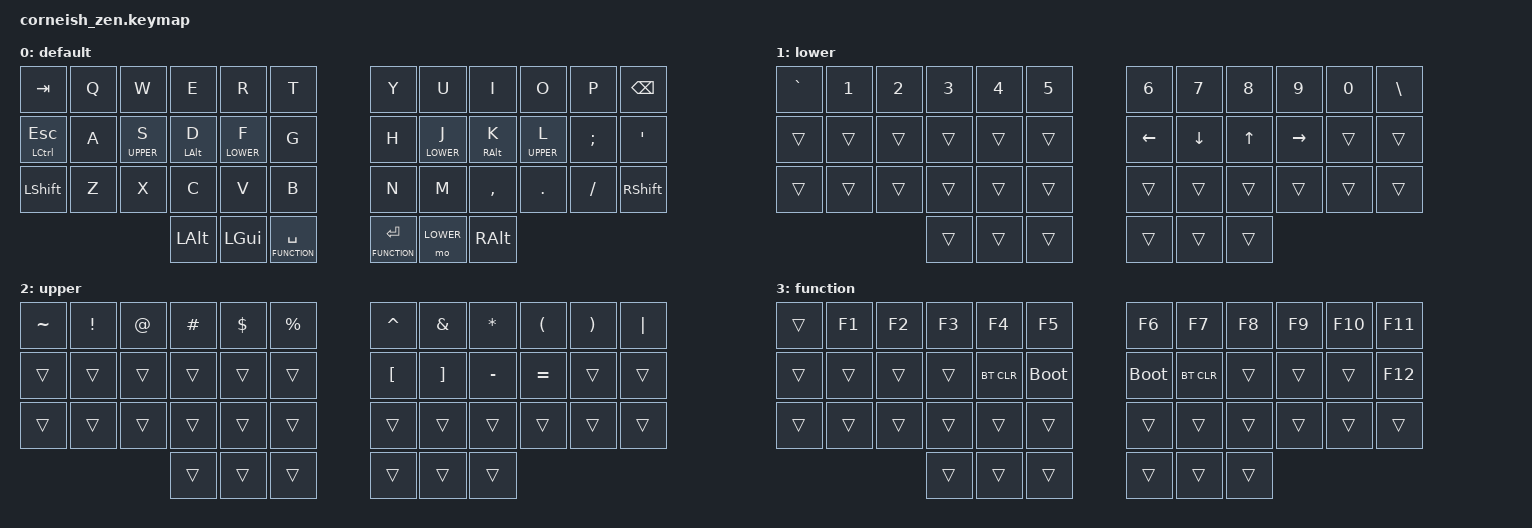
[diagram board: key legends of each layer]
#include <behaviors.dtsi>
#include <dt-bindings/zmk/bt.h>
#include <dt-bindings/zmk/ext_power.h>
#include <dt-bindings/zmk/keys.h>
#include <dt-bindings/zmk/outputs.h>
#include <dt-bindings/zmk/rgb.h>

#include "keys/base.h"
#include "keys/corne.h"

#define DEFAULT 0
#define LOWER 1
#define UPPER 2
#define FUNCTION 3

/ {
    chosen {
        zmk,matrix_transform = &default_transform;
    };
};

/ {
    behaviors {
        mht: mod_hold_tap {
            compatible = "zmk,behavior-hold-tap";
            #binding-cells = <2>;
            bindings = <&kp>, <&kp>;
            flavor = "tap-preferred";
            tapping-term-ms = <150>;
            quick-tap-ms = <0>;
        };
        hll: homerow_layer_left {
            compatible = "zmk,behavior-hold-tap";
            #binding-cells = <2>;
            bindings = <&mo>, <&kp>;
            flavor = "balanced";
            global-quick-tap;
            tapping-term-ms = <280>; 
            quick-tap-ms = <175>;
            hold-trigger-key-positions = <KEYS_R KEYS_T>;
        };
        hlr: homerow_layer_right {
            compatible = "zmk,behavior-hold-tap";
            #binding-cells = <2>;
            bindings = <&mo>, <&kp>;
            flavor = "balanced";
            global-quick-tap;
            tapping-term-ms = <280>;
            quick-tap-ms = <175>;
            hold-trigger-key-positions = <KEYS_L KEYS_T>;
        };
        hml: homerow_mod_left {
            compatible = "zmk,behavior-hold-tap";
            #binding-cells = <2>;
            flavor = "balanced";
            global-quick-tap;
            tapping-term-ms = <280>; 
            quick-tap-ms = <175>;
            bindings = <&kp>, <&kp>;
            hold-trigger-key-positions = <KEYS_R KEYS_T>;
        };
        hmr: homerow_mod_right {
            compatible = "zmk,behavior-hold-tap";
            #binding-cells = <2>;
            flavor = "balanced";
            global-quick-tap;
            tapping-term-ms = <280>; 
            quick-tap-ms = <175>;
            bindings = <&kp>, <&kp>;
            hold-trigger-key-positions = <KEYS_L KEYS_T>;
        };
    };

    keymap {
        compatible = "zmk,keymap";

        // LAYER 0
        default_layer {
            /*
            ╭────────────────────────────────┬─────────────────────────────────╮ 
            │  TAB   Q    W    E    R    T   │   Y    U     I    O    P   BKSP │
            │ CTRL   A    S    D    F    G   │   H    J     K    L    ;    '   │
            │ SHFT   Z    X    C    V    B   │   N    M     ,    .    /   SHFT │
            ╰───────────────╮ ALT  GUI  SPC  │  ENT  NUM   ALT ╭───────────────╯
                            ╰────────────────┴─────────────────╯
            */
            display-name = "default";
            bindings = <
            &kp TAB         &kp Q  &kp W         &kp E        &kp R         &kp T               &kp Y               &kp U         &kp I        &kp O         &kp P     &kp BSPC
            &mht LCTRL ESC  &kp A  &hll UPPER S  &hml LALT D  &hll LOWER F  &kp G               &kp H               &hlr LOWER J  &hmr RALT K  &hlr UPPER L  &kp SEMI  &kp SQT
            &kp LSHIFT      &kp Z  &kp X         &kp C        &kp V         &kp B               &kp N               &kp M         &kp COMMA    &kp DOT       &kp FSLH  &kp RSHIFT
                                                 &kp LALT     &kp LGUI      &lt FUNCTION SPACE  &lt FUNCTION ENTER  &mo LOWER     &kp RALT
            >;
        };

        // LAYER 1
        lower_layer {
            /*
            ╭────────────────────────────────┬─────────────────────────────────╮ 
            │  GRV   1    2    3    4    5   │   6    7    8    9    0   BSLH  │
            │                                │  LFT  DWN   UP  RGT             │
            │                                │                                 │
            ╰───────────────╮                │                 ╭───────────────╯
                            ╰────────────────┴─────────────────╯
            */
            display-name = "lower";
            bindings = <
            &kp GRAVE  &kp N1  &kp N2  &kp N3  &kp N4  &kp N5  &kp N6    &kp N7    &kp N8     &kp N9     &kp N0  &kp BSLH
            &trans     &trans  &trans  &trans  &trans  &trans  &kp LEFT  &kp DOWN  &kp UP     &kp RIGHT  &trans  &trans 
            &trans     &trans  &trans  &trans  &trans  &trans  &trans    &trans    &trans     &trans     &trans  &trans
                                       &trans  &trans  &trans  &trans    &trans    &trans
            >;
           }   ;

        // LAYER 2
        upper_layer {
            /*
            ╭────────────────────────────────┬─────────────────────────────────╮ 
            │  TIL   !    @    #    $    %   │   ^    &    *    (    )   PIPE  │
            │                                │   [    ]    -    =              │
            │                                │                                 │
            ╰───────────────╮                │                 ╭───────────────╯
                            ╰────────────────┴─────────────────╯
            */
            display-name = "upper";
            bindings = <
            &kp TILDE  &kp EXCL  &kp AT  &kp HASH  &kp DLLR  &kp PRCNT  &kp CARET  &kp AMPS  &kp STAR   &kp LPAR   &kp RPAR  &kp PIPE
            &trans     &trans    &trans  &trans    &trans    &trans     &kp LBKT   &kp RBKT  &kp MINUS  &kp EQUAL  &trans    &trans 
            &trans     &trans    &trans  &trans    &trans    &trans     &trans     &trans    &trans     &trans     &trans    &trans
                                         &trans    &trans    &trans     &trans     &trans    &trans
            >;
        };

        // LAYER 3
        function_layer {
            /*
            ╭────────────────────────────────┬─────────────────────────────────╮ 
            │        F1   F2   F3   F4   F5  │   F6   F7   F8   F9  F10   F11  │
            │                      CLR  BOOT │  BOOT  CLR                  F12 │
            │                                │                                 │
            ╰───────────────╮                │                 ╭───────────────╯
                            ╰────────────────┴─────────────────╯
            */
            display-name = "function";
            bindings = <
            &trans  &kp F1  &kp F2  &kp F3  &kp F4      &kp F5       &kp F6       &kp F7      &kp F8  &kp F9  &kp F10  &kp F11
            &trans  &trans  &trans  &trans  &bt BT_CLR  &bootloader  &bootloader  &bt BT_CLR  &trans  &trans  &trans   &kp F12
            &trans  &trans  &trans  &trans  &trans      &trans       &trans       &trans      &trans  &trans  &trans   &trans
                                    &trans  &trans      &trans       &trans       &trans      &trans
            >;
         } ;
    };
};

/* vim: set ft=c tw=174: */
